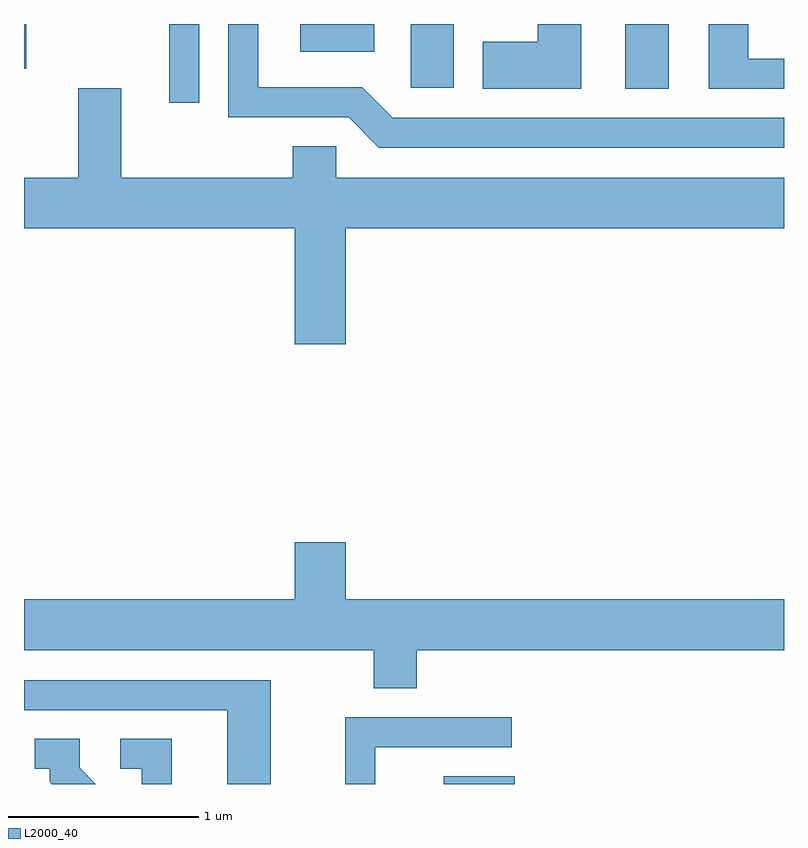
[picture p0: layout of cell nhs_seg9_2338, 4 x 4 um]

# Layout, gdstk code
import gdstk
lib = gdstk.Library(unit=1e-6, precision=1e-09)
def R(c, l, rs):  # rectangles x0, y0, x1, y1
    for r in rs: c.add(gdstk.rectangle(r[:2], r[2:], *l))
def P(c, l, *ps):  # polygons
    for p in ps: c.add(gdstk.Polygon(p, *l))
L2000_40 = (2000, 40)

nhs_seg9_2338 = lib.new_cell('nhs_seg9_2338')
R(nhs_seg9_2338, L2000_40, [(255.821,2004.432,256.194,2004.474), (254.376,2008.018,254.534,2008.432), (256.776,2008.091,257.004,2008.432), (255.646,2008.096,255.874,2008.432), (253.611,2008.196,253.624,2008.432), (255.066,2008.286,255.454,2008.432)])
P(nhs_seg9_2338, L2000_40, [(257.611,2008.249),(257.424,2008.249),(257.424,2008.432),(257.216,2008.432),(257.216,2008.091),(257.611,2008.091)],
  [(257.611,2007.939),(255.552,2007.939),(255.392,2008.099),(254.844,2008.099),(254.844,2008.432),(254.686,2008.432),(254.686,2007.941),(255.319,2007.941),(255.479,2007.781),(257.611,2007.781)],
  [(256.544,2008.432),(256.316,2008.432),(256.316,2008.339),(256.026,2008.339),(256.026,2008.091),(256.544,2008.091)],
  [(255.304,2007.356),(257.611,2007.356),(257.611,2007.624),(255.254,2007.624),(255.254,2007.789),(255.026,2007.789),(255.026,2007.624),(254.124,2007.624),(254.124,2008.094),(253.896,2008.094),(253.896,2007.624),(253.611,2007.624),(253.611,2007.356),(255.036,2007.356),(255.036,2006.746),(255.304,2006.746)],
  [(255.679,2005.136),(257.611,2005.136),(257.611,2005.404),(255.304,2005.404),(255.304,2005.704),(255.036,2005.704),(255.036,2005.404),(253.611,2005.404),(253.611,2005.136),(255.451,2005.136),(255.451,2004.936),(255.679,2004.936)],
  [(254.909,2004.979),(253.611,2004.979),(253.611,2004.82),(253.612,2004.821),(254.681,2004.821),(254.681,2004.432),(254.909,2004.432)],
  [(255.459,2004.626),(256.178,2004.626),(256.178,2004.784),(255.301,2004.784),(255.301,2004.432),(255.459,2004.432)],
  [(253.904,2004.517),(253.904,2004.669),(253.668,2004.669),(253.668,2004.511),(253.746,2004.511),(253.746,2004.444),(253.758,2004.432),(253.989,2004.432)],
  [(254.389,2004.669),(254.118,2004.669),(254.118,2004.511),(254.231,2004.511),(254.231,2004.432),(254.389,2004.432)])

lib.write_gds('nhs_seg9_2338.gds')
